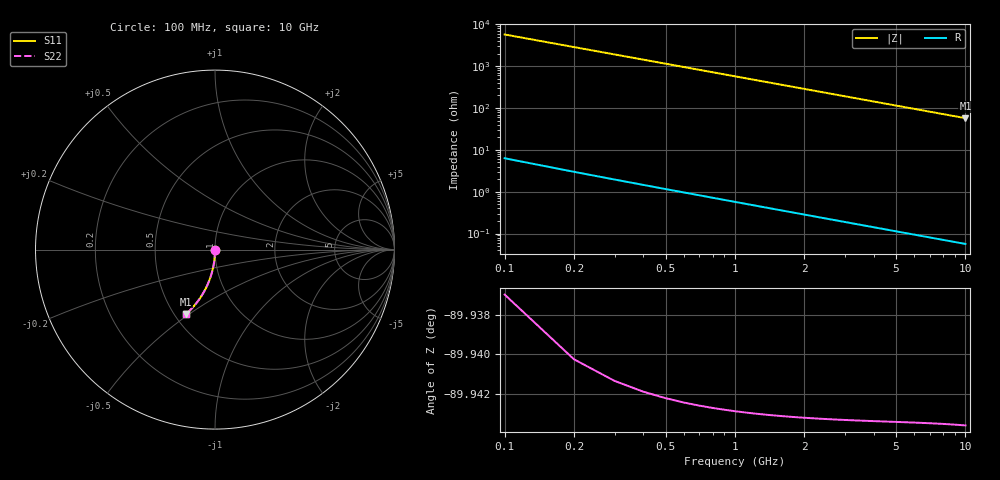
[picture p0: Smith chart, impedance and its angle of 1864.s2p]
# Hz S RI R 50.00
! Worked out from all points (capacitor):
!   100 points, 100 MHz to 10 GHz, reference 50 ohm
!   read as one part in shunt: C = 278 fF near 100 MHz
!   lowest |Z| = 57.4 ohm at 10 GHz (marker M1)
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1e8  -9.35e-06 -0.00428  1 -0.00444  1 -0.00444  -9.35e-06 -0.00428
2e8  -7.06e-05 -0.00856  0.9999 -0.00888  0.9999 -0.00888  -7.06e-05 -0.00856
3e8  -0.00017 -0.0128  0.9998 -0.0133  0.9998 -0.0133  -0.00017 -0.0128
4e8  -0.000307 -0.0171  0.9997 -0.0178  0.9997 -0.0178  -0.000307 -0.0171
5e8  -0.000483 -0.0214  0.9995 -0.0222  0.9995 -0.0222  -0.000483 -0.0214
6e8  -0.000696 -0.0257  0.9993 -0.0266  0.9993 -0.0266  -0.000696 -0.0257
7e8  -0.000947 -0.0299  0.999 -0.0311  0.999 -0.0311  -0.000947 -0.0299
8e8  -0.00124 -0.0342  0.9987 -0.0355  0.9987 -0.0355  -0.00124 -0.0342
9e8  -0.00156 -0.0385  0.9984 -0.0399  0.9984 -0.0399  -0.00156 -0.0385
1.1e9  -0.00233 -0.047  0.9976 -0.0488  0.9976 -0.0488  -0.00233 -0.047
1.4e9  -0.00376 -0.0597  0.9962 -0.062  0.9962 -0.062  -0.00376 -0.0597
1.8e9  -0.00619 -0.0766  0.9938 -0.0795  0.9938 -0.0795  -0.00619 -0.0766
2.1e9  -0.0084 -0.0892  0.9916 -0.0926  0.9916 -0.0926  -0.0084 -0.0892
2.5e9  -0.0119 -0.1058  0.9881 -0.1099  0.9881 -0.1099  -0.0119 -0.1058
2.9e9  -0.0159 -0.1223  0.9841 -0.1269  0.9841 -0.1269  -0.0159 -0.1223
3.4e9  -0.0217 -0.1425  0.9783 -0.148  0.9783 -0.148  -0.0217 -0.1425
4.2e9  -0.0327 -0.174  0.9672 -0.1809  0.9672 -0.1809  -0.0327 -0.174
5.1e9  -0.0475 -0.2081  0.9524 -0.2164  0.9524 -0.2164  -0.0475 -0.2081
5.9e9  -0.0625 -0.2369  0.9374 -0.2466  0.9374 -0.2466  -0.0625 -0.2369
6.7e9  -0.0792 -0.2642  0.9207 -0.2752  0.9207 -0.2752  -0.0792 -0.2642
8.4e9  -0.1191 -0.3166  0.8807 -0.3305  0.8807 -0.3305  -0.1191 -0.3166
1e10  -0.1608 -0.3586  0.839 -0.3753  0.839 -0.3753  -0.1608 -0.3586
